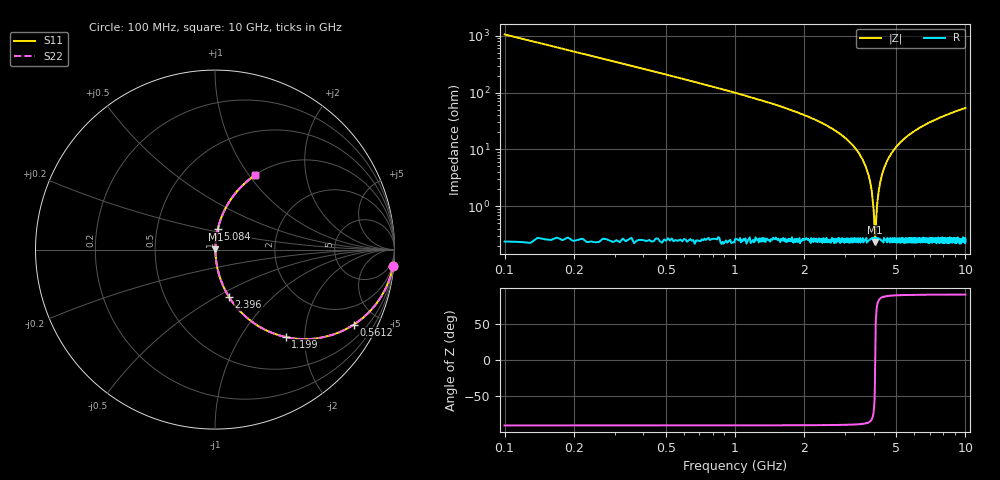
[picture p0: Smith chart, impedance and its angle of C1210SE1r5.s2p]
! AVX Thin Film Operation		Date: April 2012
! Description: Accu-P® Series, Thin Film, SMD, RF Capacitor
! Part Number: 12101J1R5PBTTR
!	100	MHz	-	10.05	GHz
!	Serial	Measurements
#	MHZ	S	MA	R	50
!	S11	S21	S12	S22
!	dB	Phase	dB	Phase	dB	Phase	dB	Phase
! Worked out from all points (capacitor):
!   1010 points, 100 MHz to 10 GHz, reference 50 ohm
!   read as one part in series: C = 1.5 pF near 149.1 MHz
!   lowest |Z| = 233 mohm at 4.064 GHz (marker M1)
!   series resonance near 4.059 GHz, so ESL is about 1 nH
!   S11 on the Smith chart (normalised r, x): 100 MHz: 1, -21; 561.1 MHz: 1.00, -3.71; 1.199 GHz: 1.01, -1.61; 2.396 GHz: 1.00, -0.58; 5.084 GHz: 1.00, +0.24; 10 GHz: 1.00, +1.08
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100  0.996 -5.4  0.094 84.6  0.094 84.6  0.996 -5.4
286.422  0.965 -15.2  0.262 74.8  0.262 74.8  0.965 -15.2
561.15  0.88 -28.3  0.474 61.6  0.474 61.6  0.88 -28.3
1198.91  0.627 -51.0  0.777 38.9  0.777 38.9  0.627 -51.0
1758.176  0.439 -63.6  0.896 26.1  0.896 26.1  0.439 -63.6
2395.937  0.277 -73.4  0.959 16.1  0.959 16.1  0.277 -73.4
3406.541  0.092 -83.2  0.993 5.3  0.993 5.3  0.092 -83.2
3671.457  0.052 -84.3  0.996 3.0  0.996 3.0  0.052 -84.3
3838.256  0.029 -83.4  0.997 1.7  0.997 1.7  0.029 -83.4
3936.373  0.016 -80.2  0.997 0.9  0.997 0.9  0.016 -80.2
4024.678  0.00513 -60.6  0.997 0.3  0.997 0.3  0.00513 -60.6
4063.925  0.00256 13.0  0.998 -0.0  0.998 -0.0  0.00256 13.0
4093.36  0.00501 59.9  0.997 -0.2  0.997 -0.2  0.00501 59.9
4142.418  0.011 76.1  0.997 -0.6  0.997 -0.6  0.011 76.1
4191.477  0.017 80.5  0.997 -1.0  0.997 -1.0  0.017 80.5
4358.276  0.037 84.0  0.997 -2.1  0.997 -2.1  0.037 84.0
4642.815  0.07 83.9  0.995 -4.0  0.995 -4.0  0.07 83.9
5054.906  0.115 82.2  0.991 -6.6  0.991 -6.6  0.115 82.2
5084.341  0.118 82.0  0.991 -6.8  0.991 -6.8  0.118 82.0
6703.271  0.263 74.2  0.962 -15.2  0.962 -15.2  0.263 74.2
8351.635  0.379 67.4  0.923 -22.3  0.923 -22.3  0.379 67.4
10000  0.473 61.5  0.879 -28.2  0.879 -28.2  0.473 61.5
